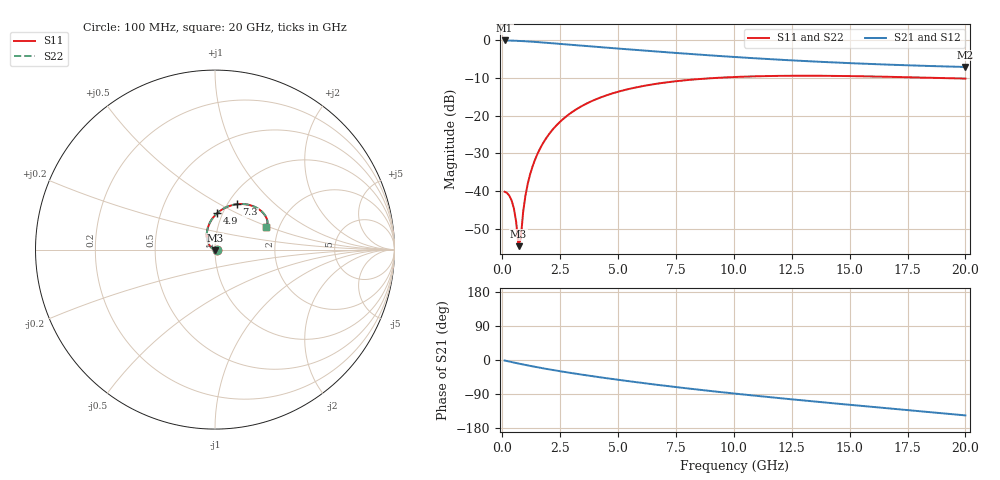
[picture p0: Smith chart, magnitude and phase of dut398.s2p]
! Touchstone file exported from HFSS 2024.1.0
!  File:  C:/UserFiles/LocalFiles/RDL_TSV_Batchsim/temp_RDL_TSV_398_1779649020.aedt
!  Generated:  03:11:44 AM May 25, 2026
!  Design:  RDL_TSV
!  Project:  temp_RDL_TSV_398_1779649020
!  Setup:  Setup1
!  Solution:  Sweep
! Variables:
!  dtsv = 11.48um
!  hbump = 3um
!  htsv = 64.71um
!  ldown = 211.28um
!  lrdl = 330.78um
!  p = 40
!  p1 = 47.64um
!  rhole = 10um
!  subl = 1956.96um
!  t = 450um
!  tdown = 4.3um
!  trdl = 4.42um
!  viad = 10um
!  wdown = 15.44um
!  wrdl = 17.92um
!  xbump = 18um
# GHz S MA R 50.000000
! Terminal data exported
! Port[1] = TM1_1_T1
! Port[2] = TM1_4_T1
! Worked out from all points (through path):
!   200 points, 100 MHz to 20 GHz, reference 50 ohm
!   highest |S21| = -0.09 dB at 100 MHz (marker M1); lowest = -7.1 dB at 20 GHz (marker M2)
!   group delay of S21, straight-line fit = 19.1 ps
!   lowest |S11| = -54.6 dB at 700 MHz (marker M3), VSWR 1.00, Z = 50.1 - j0.173 ohm
!   |S11| at or under -10 dB: start of sweep to 9.257 GHz; 18.68 GHz to end of sweep
!   |S22| runs from -54.6 to -9.4 dB; largest |S21 - S12| = 9e-15
!   S11 on the Smith chart (normalised r, x): 100 MHz: 1.02, -0.00; 4.9 GHz: 0.94, +0.40; 7.3 GHz: 1.10, +0.61; 20 GHz: 1.70, +0.48
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0.1  0.009811 -1.8  0.9897 -1.4  0.9897 -1.4  0.009811 -1.8
! Gamma 0 0 0 0
! Port Impedance 50 0 50 0
0.3  0.008751 -8.6  0.987 -4.1  0.987 -4.1  0.008748 -8.6
0.5  0.005918 -20.5  0.9826 -6.7  0.9826 -6.7  0.005909 -20.5
0.6  0.003908 -32.1  0.9798 -8.0  0.9798 -8.0  0.003896 -32.1
0.7  0.00187 -67.4  0.9768 -9.3  0.9768 -9.3  0.001857 -67.7
0.8  0.002386 -155.6  0.9734 -10.6  0.9734 -10.6  0.002397 -156.0
0.9  0.005294 178.1  0.9697 -11.8  0.9697 -11.8  0.005315 178.0
1  0.008756 168.3  0.9657 -13.1  0.9657 -13.1  0.008783 168.2
1.1  0.01255 162.3  0.9615 -14.3  0.9615 -14.3  0.01259 162.3
1.3  0.02095 153.9  0.9525 -16.7  0.9525 -16.7  0.021 153.8
1.5  0.03021 147.3  0.9428 -19.0  0.9428 -19.0  0.03027 147.3
1.9  0.05053 136.4  0.9224 -23.5  0.9224 -23.5  0.05061 136.4
2.3  0.07221 127.2  0.9014 -27.7  0.9014 -27.7  0.07232 127.1
2.8  0.09982 117.2  0.8756 -32.6  0.8756 -32.6  0.09997 117.1
3.5  0.1374 105.3  0.841 -39.2  0.841 -39.2  0.1375 105.3
4.9  0.2031 86.6  0.7775 -51.3  0.7775 -51.3  0.2033 86.6
6.8  0.2681 68.1  0.7014 -66.3  0.7014 -66.3  0.2685 68.1
7.3  0.2809 64.1  0.6833 -70.0  0.6833 -70.0  0.2812 64.1
10.1  0.3254 46.7  0.5958 -89.0  0.5958 -89.0  0.3258 46.8
13.4  0.3375 33.7  0.522 -109.1  0.522 -109.1  0.3378 33.8
16.7  0.3267 26.6  0.4731 -127.8  0.4731 -127.8  0.3271 26.6
20  0.3096 24.5  0.4408 -146.1  0.4408 -146.1  0.3099 24.5
